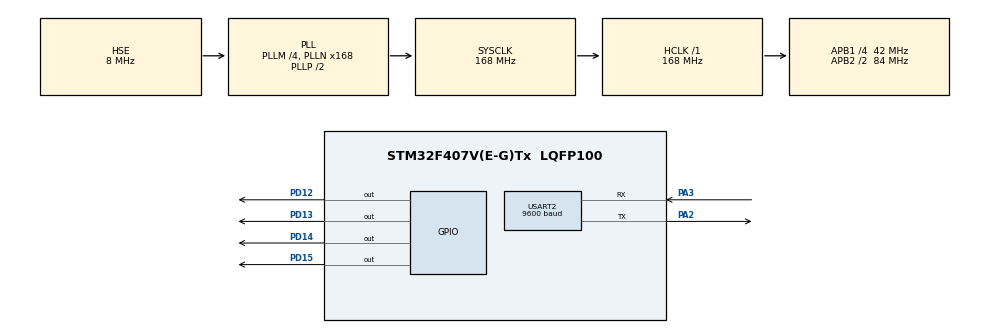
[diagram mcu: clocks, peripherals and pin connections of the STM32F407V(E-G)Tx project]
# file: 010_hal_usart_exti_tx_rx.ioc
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Mcu.Family=STM32F4
Mcu.Name=STM32F407V(E-G)Tx
Mcu.Package=LQFP100
NVIC.PriorityGroup=NVIC_PRIORITYGROUP_4
NVIC.USART2_IRQn=true\:0\:0\:false\:false\:true\:true\:true\:true
PA13.Mode=Serial_Wire
PA13.Signal=SYS_JTMS-SWDIO
PA14.Mode=Serial_Wire
PA14.Signal=SYS_JTCK-SWCLK
PA2.Mode=Asynchronous
PA2.Signal=USART2_TX
PA3.Mode=Asynchronous
PA3.Signal=USART2_RX
PD12.Signal=GPIO_Output
PD13.Signal=GPIO_Output
PD14.Signal=GPIO_Output
PD15.Signal=GPIO_Output
PH0-OSC_IN.Mode=HSE-External-Oscillator
PH0-OSC_IN.Signal=RCC_OSC_IN
PH1-OSC_OUT.Mode=HSE-External-Oscillator
PH1-OSC_OUT.Signal=RCC_OSC_OUT
ProjectManager.HeapSize=0x200
ProjectManager.StackSize=0x400
ProjectManager.TargetToolchain=STM32CubeIDE
RCC.48MHZClocksFreq_Value=84000000
RCC.AHBFreq_Value=168000000
RCC.APB1CLKDivider=RCC_HCLK_DIV4
RCC.APB1Freq_Value=42000000
RCC.APB1TimFreq_Value=84000000
RCC.APB2CLKDivider=RCC_HCLK_DIV2
RCC.APB2Freq_Value=84000000
RCC.APB2TimFreq_Value=168000000
RCC.CortexFreq_Value=168000000
RCC.HCLKFreq_Value=168000000
RCC.HSE_VALUE=8000000
RCC.HSI_VALUE=16000000
RCC.LSE_VALUE=32768
RCC.PLLM=4
RCC.PLLN=168
RCC.PLLSourceVirtual=RCC_PLLSOURCE_HSE
RCC.SYSCLKFreq_VALUE=168000000
RCC.SYSCLKSource=RCC_SYSCLKSOURCE_PLLCLK
RCC.VCOOutputFreq_Value=336000000
USART2.BaudRate=9600
USART2.VirtualMode=VM_ASYNC
board=custom

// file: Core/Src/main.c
/* USER CODE BEGIN Header */
/**
  ******************************************************************************
  * @file           : main.c
  * @brief          : Main program body
  ******************************************************************************
  * @attention
  *
  * Copyright (c) 2023 STMicroelectronics.
  * All rights reserved.
  *
  * This software is licensed under terms that can be found in the LICENSE file
  * in the root directory of this software component.
  * If no LICENSE file comes with this software, it is provided AS-IS.
  *
  ******************************************************************************
  */
/* USER CODE END Header */
#include "main.h"

/* USER CODE BEGIN Includes */
#include <string.h>
#include <stdlib.h>
/* USER CODE END Includes */

UART_HandleTypeDef huart2;

void SystemClock_Config(void);
static void MX_GPIO_Init(void);
static void MX_USART2_UART_Init(void);

/* USER CODE BEGIN 0 */

uint8_t rx[10],tx[100];
uint8_t cnt=0;

void HAL_UART_RxCpltCallback(UART_HandleTypeDef *huart){
	if(huart == &huart2){
		tx[cnt]=rx[0];
		//cnt++;
		HAL_UART_Receive_IT(&huart2, rx, 1); // datas_rx[0] a gelicek sürekli 1 byte olarak
	}

}

/*
void HAL_UART_TxCpltCallback(UART_HandleTypeDef *huart){
	//HAL_GPIO_TogglePin(GPIOD, GPIO_PIN_13);
	//strcat(Datas_rx, " loves banana.\n");
	//HAL_UART_Transmit_IT(&huart2, (uint8_t*)ss1, sizeof(ss1));
}
*/

/* USER CODE END 0 */

int main(void)
{

  /* MCU Configuration--------------------------------------------------------*/

  /* Reset of all peripherals, Initializes the Flash interface and the Systick. */
  HAL_Init();

  /* Configure the system clock */
  SystemClock_Config();

  /* Initialize all configured peripherals */
  MX_GPIO_Init();
  MX_USART2_UART_Init();
  /* USER CODE BEGIN 2 */

  HAL_UART_Receive_IT(&huart2,rx, 1);
  //HAL_UART_Transmit_IT(&huart2, (uint8_t*)Datas_tx, cnt);

  /* USER CODE END 2 */

  /* Infinite loop */
  while (1)
  {

    /* USER CODE BEGIN 3 */

	  /*if(cnt==2){
		  HAL_GPIO_TogglePin(GPIOD, GPIO_PIN_14);
		  HAL_UART_Transmit_IT(&huart2, (uint8_t*)"ebru loves banana", 8);
		  cnt=0;
	  }else if(cnt==3){
		  HAL_GPIO_TogglePin(GPIOD, GPIO_PIN_15);
		  HAL_UART_Transmit_IT(&huart2, (uint8_t*)"ceylan loves banana", 8);
		  cnt=0;
	  }*/
	  //HAL_UART_Transmit_IT(&huart2, (uint8_t*)"omur loves banana\n",strlen("omur loves banana\n") );
	  //HAL_Delay(500);

	  if(tx[cnt]=='2'){ // uart ile aldıgın datalar char cinsinden gelir  ascll tablosuna göre hareket et.
		HAL_GPIO_WritePin(GPIOD, GPIO_PIN_12,0);
		HAL_UART_Transmit_IT(&huart2, (uint8_t*)"omur loves banana\n",strlen("omur loves banana\n") );
		cnt++;
	  }else if(tx[cnt]=='3'){
		HAL_GPIO_WritePin(GPIOD, GPIO_PIN_12,GPIO_PIN_SET);
		HAL_UART_Transmit_IT(&huart2, (uint8_t*)"ebru loves banana\n",strlen("ebru loves banana\n") );
		cnt++;
	  }

  }
  /* USER CODE END 3 */
}

void SystemClock_Config(void)
{
  RCC_OscInitTypeDef RCC_OscInitStruct = {0};
  RCC_ClkInitTypeDef RCC_ClkInitStruct = {0};

  /** Configure the main internal regulator output voltage
  */
  __HAL_RCC_PWR_CLK_ENABLE();
  __HAL_PWR_VOLTAGESCALING_CONFIG(PWR_REGULATOR_VOLTAGE_SCALE1);

  /** Initializes the RCC Oscillators according to the specified parameters
  * in the RCC_OscInitTypeDef structure.
  */
  RCC_OscInitStruct.OscillatorType = RCC_OSCILLATORTYPE_HSE;
  RCC_OscInitStruct.HSEState = RCC_HSE_ON;
  RCC_OscInitStruct.PLL.PLLState = RCC_PLL_ON;
  RCC_OscInitStruct.PLL.PLLSource = RCC_PLLSOURCE_HSE;
  RCC_OscInitStruct.PLL.PLLM = 4;
  RCC_OscInitStruct.PLL.PLLN = 168;
  RCC_OscInitStruct.PLL.PLLP = RCC_PLLP_DIV2;
  RCC_OscInitStruct.PLL.PLLQ = 4;
  if (HAL_RCC_OscConfig(&RCC_OscInitStruct) != HAL_OK)
  {
    Error_Handler();
  }

  /** Initializes the CPU, AHB and APB buses clocks
  */
  RCC_ClkInitStruct.ClockType = RCC_CLOCKTYPE_HCLK|RCC_CLOCKTYPE_SYSCLK
                              |RCC_CLOCKTYPE_PCLK1|RCC_CLOCKTYPE_PCLK2;
  RCC_ClkInitStruct.SYSCLKSource = RCC_SYSCLKSOURCE_PLLCLK;
  RCC_ClkInitStruct.AHBCLKDivider = RCC_SYSCLK_DIV1;
  RCC_ClkInitStruct.APB1CLKDivider = RCC_HCLK_DIV4;
  RCC_ClkInitStruct.APB2CLKDivider = RCC_HCLK_DIV2;

  if (HAL_RCC_ClockConfig(&RCC_ClkInitStruct, FLASH_LATENCY_5) != HAL_OK)
  {
    Error_Handler();
  }
}

static void MX_USART2_UART_Init(void)
{

  huart2.Instance = USART2;
  huart2.Init.BaudRate = 9600;
  huart2.Init.WordLength = UART_WORDLENGTH_8B;
  huart2.Init.StopBits = UART_STOPBITS_1;
  huart2.Init.Parity = UART_PARITY_NONE;
  huart2.Init.Mode = UART_MODE_TX_RX;
  huart2.Init.HwFlowCtl = UART_HWCONTROL_NONE;
  huart2.Init.OverSampling = UART_OVERSAMPLING_16;
  if (HAL_UART_Init(&huart2) != HAL_OK)
  {
    Error_Handler();
  }

}

static void MX_GPIO_Init(void)
{
  GPIO_InitTypeDef GPIO_InitStruct = {0};

  /* GPIO Ports Clock Enable */
  __HAL_RCC_GPIOH_CLK_ENABLE();
  __HAL_RCC_GPIOA_CLK_ENABLE();
  __HAL_RCC_GPIOD_CLK_ENABLE();

  /*Configure GPIO pin Output Level */
  HAL_GPIO_WritePin(GPIOD, GPIO_PIN_12|GPIO_PIN_13|GPIO_PIN_14|GPIO_PIN_15, GPIO_PIN_RESET);

  /*Configure GPIO pins : PD12 PD13 PD14 PD15 */
  GPIO_InitStruct.Pin = GPIO_PIN_12|GPIO_PIN_13|GPIO_PIN_14|GPIO_PIN_15;
  GPIO_InitStruct.Mode = GPIO_MODE_OUTPUT_PP;
  GPIO_InitStruct.Pull = GPIO_NOPULL;
  GPIO_InitStruct.Speed = GPIO_SPEED_FREQ_LOW;
  HAL_GPIO_Init(GPIOD, &GPIO_InitStruct);

}

void Error_Handler(void)
{
  __disable_irq();
  while (1)
  {
  }
}
